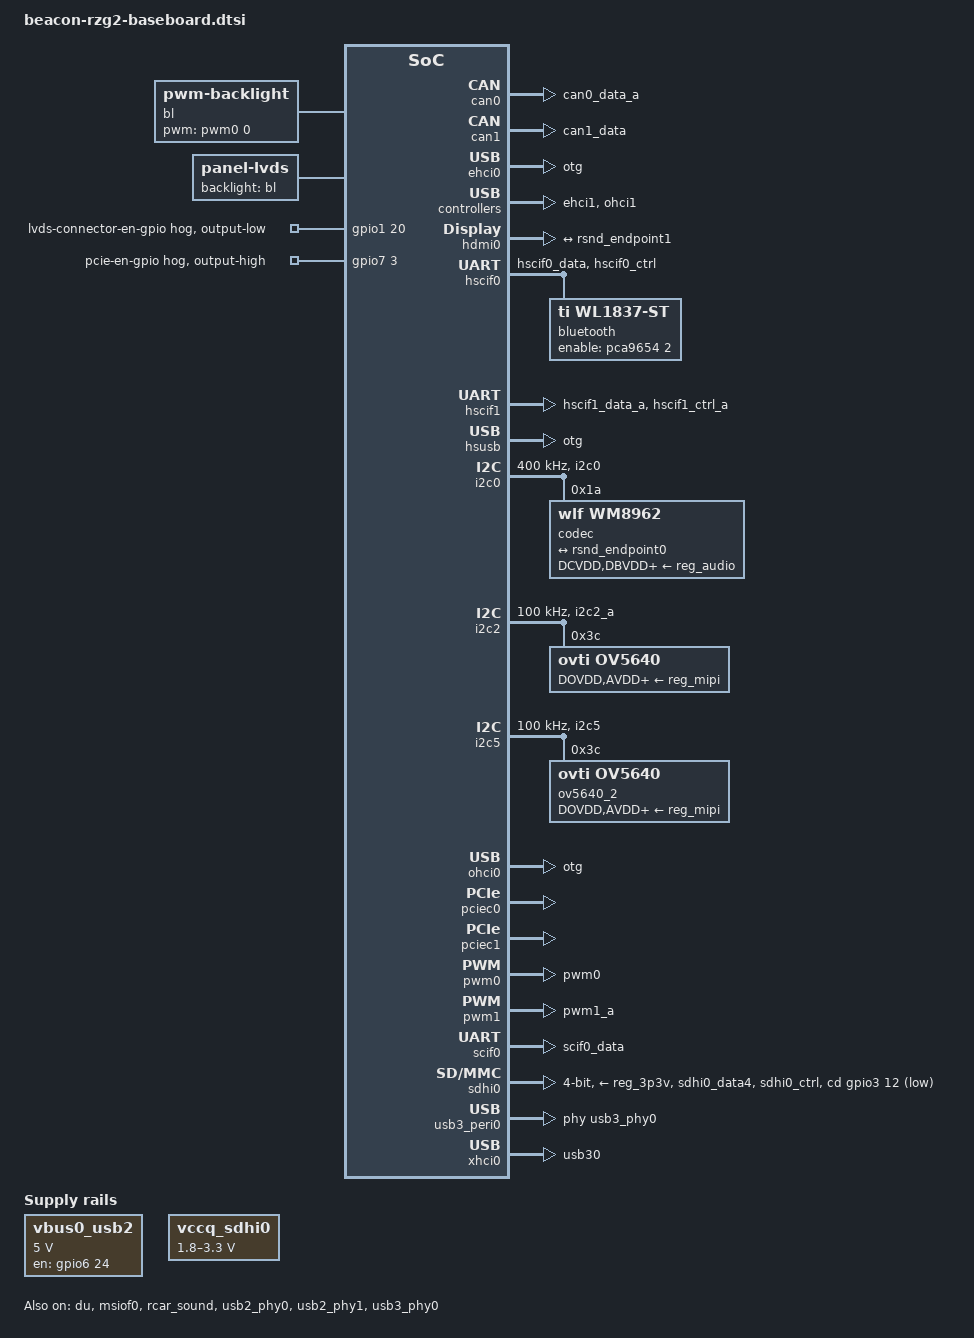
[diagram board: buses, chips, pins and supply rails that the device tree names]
// SPDX-License-Identifier: GPL-2.0
/*
 * Device Tree Source for Base Board of LogicPD RZ/G2 platform.
 *
 * Copyright (C) 2019 Logic PD.
 */

#include <dt-bindings/gpio/gpio.h>

/ {
	aliases {
		serial0 = &scif2;
		serial1 = &hscif0;
		serial2 = &hscif1;
		serial3 = &scif0;
		spi0 = &msiof0;
		spi1 = &msiof1;
		spi2 = &msiof2;
		spi3 = &msiof3;
		ethernet0 = &avb;
	};

	chosen {
		stdout-path = "serial0:115200n8";
	};

	bl: backlight {
		compatible = "pwm-backlight";
		pwms = <&pwm0 0 5000000>;

		brightness-levels = <0 4 8 16 32 64 128 255>;
		default-brightness-level = <6>;
	};

	lvds {
		compatible = "panel-lvds";

		width-mm = <223>;
		height-mm = <125>;

		data-mapping = "jeida-24";
		backlight = <&bl>;

		panel-timing {
			/* 1024x600@60Hz */
			clock-frequency = <51200000>;
			hactive = <1024>;
			vactive = <600>;
			hsync-len = <240>;
			hfront-porch = <40>;
			hback-porch = <40>;
			vfront-porch = <15>;
			vback-porch = <10>;
			vsync-len = <10>;
		};

		port {
			lvds_in: endpoint {
			};
		};
	};

	sound_card {
		compatible = "audio-graph-card";
		label = "rcar-sound";
		dais = <&rsnd_port0>, <&rsnd_port1>;
	};

	vbus0_usb2: regulator-vbus0-usb2 {
		compatible = "regulator-fixed";
		regulator-name = "USB20_VBUS0";
		regulator-min-microvolt = <5000000>;
		regulator-max-microvolt = <5000000>;

		gpio = <&gpio6 24 GPIO_ACTIVE_HIGH>;
		enable-active-high;
	};

	vccq_sdhi0: regulator-vccq-sdhi0 {
		compatible = "regulator-gpio";

		regulator-name = "SDHI0 VccQ";
		regulator-min-microvolt = <1800000>;
		regulator-max-microvolt = <3300000>;

		gpios = <&gpio6 30 GPIO_ACTIVE_HIGH>;
		gpios-states = <1>;
		states = <3300000 1
			  1800000 0>;
	};
};

&audio_clk_a {
	clock-frequency = <22579200>;
};

&audio_clk_b {
	clock-frequency = <24000000>;
};

&can0 {
	pinctrl-0 = <&can0_pins>;
	pinctrl-names = "default";
	renesas,can-clock-select = <0x0>;
	status = "okay";
};

&can1 {
	pinctrl-0 = <&can1_pins>;
	pinctrl-names = "default";
	renesas,can-clock-select = <0x0>;
	status = "okay";
};

&du {
	pinctrl-0 = <&du_pins>;
	pinctrl-names = "default";
	status = "okay";

	clocks = <&cpg CPG_MOD 724>,
		<&cpg CPG_MOD 723>,
		<&cpg CPG_MOD 722>,
		<&versaclock5 1>,
		<&x302_clk>,
		<&versaclock5 2>;
	clock-names = "du.0", "du.1", "du.2",
		"dclkin.0", "dclkin.1", "dclkin.2";
	ports {
		port@1 {
			du_out_hdmi0: endpoint {
                                remote-endpoint = <&dw_hdmi0_in>;
			};
		};
	};
};

&ehci0 {
	dr_mode = "otg";
	status = "okay";
};

&ehci1 {
	status = "okay";
};


/* GP1_20 is used to select (SEL) output direction for LVDS-IF
 * SEL = L => To LVDS Connector
 * SEL = H => To MIPI-DSI
 *
 * Currently just support LVDS Connector so that set LOW for GP1_20
 */
&gpio1 {
	lvds-connector-en-gpio{
		gpio-hog;
		gpios = <20 GPIO_ACTIVE_HIGH>;
		output-low;
		line-name = "lvds-connector-en-gpio";
	};
};

&gpio7 {
	pcie-en-gpio {
		gpio-hog;
		gpios = <3 GPIO_ACTIVE_HIGH>;
		output-high;
		line-name = "pcie-en-gpio";
	};
};

&hdmi0 {
	ports {
		port@2 {
			reg = <2>;
			dw_hdmi0_snd_in: endpoint {
				remote-endpoint = <&rsnd_endpoint1>;
			};
		};
	};
};

&hscif0 {
	pinctrl-0 = <&hscif0_pins>;
	pinctrl-names = "default";

	uart-has-rtscts;
	status = "okay";
	bluetooth {
		compatible = "ti,wl1837-st";
		enable-gpios = <&pca9654 2 GPIO_ACTIVE_HIGH>;
	};
};

&hscif1 {
	pinctrl-0 = <&hscif1_pins>;
	pinctrl-names = "default";

	uart-has-rtscts;
	status = "okay";
};

&hsusb {
	dr_mode = "otg";
	status = "okay";
};

&i2c0 {
	pinctrl-names = "default";
	pinctrl-0 = <&i2c0_pins>;
	status = "okay";
	clock-frequency = <400000>;

	codec: wm8962@1a {
		compatible = "wlf,wm8962";
		reg = <0x1a>;
		DCVDD-supply = <&reg_audio>;
		DBVDD-supply = <&reg_audio>;
		AVDD-supply = <&reg_audio>;
		CPVDD-supply = <&reg_audio>;
		MICVDD-supply = <&reg_audio>;
		PLLVDD-supply = <&reg_audio>;
		SPKVDD1-supply = <&reg_audio>;
		SPKVDD2-supply = <&reg_audio>;
		gpio-cfg = <
			0x0000 /* 0:Default */
			0x0000 /* 1:Default */
			0x0000 /* 2:Default */
			0x0000 /* 3:Default */
			0x0000 /* 4:Default */
			0x0000 /* 5:Default */
			>;
			port {
				wm8962_endpoint: endpoint {
					remote-endpoint = <&rsnd_endpoint0>;
				};
			};
	};
};

&i2c2 {
	pinctrl-0 = <&i2c2_pins>;
	pinctrl-names = "default";
	clock-frequency = <100000>;
	status = "okay";

	ov5640: camera@3C {
		compatible = "ovti,ov5640";
		reg = <0x3C>;
		clocks = <&audio_clk_b>;
		clock-names = "xclk";
		DOVDD-supply = <&reg_mipi>;
		AVDD-supply = <&reg_mipi>;
		DVDD-supply = <&reg_mipi>;
		status = "okay";

		port {
			ov5640_to_mipi_csi2: endpoint {
				clock-lanes = <0>;
				data-lanes = <1 2>;
			};
		};
	};
};

&i2c5 {
	pinctrl-0 = <&i2c5_pins>;
	pinctrl-names = "default";
	clock-frequency = <100000>;
	status = "okay";

	ov5640_2: camera@3C {
		compatible = "ovti,ov5640";
		reg = <0x3C>;
		clocks = <&audio_clk_b>;
		clock-names = "xclk";
		DOVDD-supply = <&reg_mipi>;
		AVDD-supply = <&reg_mipi>;
		DVDD-supply = <&reg_mipi>;
		status = "okay";

		port {
			ov5640_2_to_mipi_csi2: endpoint {
				clock-lanes = <0>;
				data-lanes = <1 2>;
			};
		};
	};
};

&msiof0 {
	pinctrl-0 = <&msiof0_pins>;
	pinctrl-names = "default";

	status = "okay";
};

&ohci0 {
	dr_mode = "otg";
	status = "okay";
};

&ohci1 {
	status = "okay";
};

&pciec0 {
	status = "okay";
};

&pciec1 {
	status = "okay";
};

&pcie_bus_clk {
	clock-frequency = <100000000>;
};

&pwm0 {
	pinctrl-0 = <&pwm0_pins>;
	pinctrl-names = "default";

	status = "okay";
};

&pwm1 {
	pinctrl-0 = <&pwm1_pins>;
	pinctrl-names = "default";

	status = "okay";
};

&rcar_sound {
	pinctrl-0 = <&sound_pins>, <&sound_clk_pins>;
	pinctrl-names = "default";

	/* Single DAI */
	#sound-dai-cells = <0>;

	/* audio_clkout0/1/2/3 */
	#clock-cells = <1>;
	clock-frequency = <11289600>;

	status = "okay";

	clocks = <&cpg CPG_MOD 1005>,
		 <&cpg CPG_MOD 1006>, <&cpg CPG_MOD 1007>,
		 <&cpg CPG_MOD 1008>, <&cpg CPG_MOD 1009>,
		 <&cpg CPG_MOD 1010>, <&cpg CPG_MOD 1011>,
		 <&cpg CPG_MOD 1012>, <&cpg CPG_MOD 1013>,
		 <&cpg CPG_MOD 1014>, <&cpg CPG_MOD 1015>,
		 <&cpg CPG_MOD 1022>, <&cpg CPG_MOD 1023>,
		 <&cpg CPG_MOD 1024>, <&cpg CPG_MOD 1025>,
		 <&cpg CPG_MOD 1026>, <&cpg CPG_MOD 1027>,
		 <&cpg CPG_MOD 1028>, <&cpg CPG_MOD 1029>,
		 <&cpg CPG_MOD 1030>, <&cpg CPG_MOD 1031>,
		 <&cpg CPG_MOD 1020>, <&cpg CPG_MOD 1021>,
		 <&cpg CPG_MOD 1020>, <&cpg CPG_MOD 1021>,
		 <&cpg CPG_MOD 1019>, <&cpg CPG_MOD 1018>,
		 <&audio_clk_a>, <&audio_clk_b>, <&audio_clk_c>,
		 <&cpg CPG_CORE R8A774A1_CLK_S0D4>;
	ports {
        #address-cells = <1>;
        #size-cells = <0>;
		rsnd_port0: port@0 {
			reg = <0>;
			rsnd_endpoint0: endpoint {
				remote-endpoint = <&wm8962_endpoint>;

				dai-format = "i2s";
				bitclock-master = <&rsnd_endpoint0>;
				frame-master = <&rsnd_endpoint0>;

				playback = <&ssi1>;
			};
		};
		rsnd_port1: port@1 {
		    reg = <0x01>;
			rsnd_endpoint1: endpoint {
				remote-endpoint = <&dw_hdmi0_snd_in>;

				dai-format = "i2s";
				bitclock-master = <&rsnd_endpoint1>;
				frame-master = <&rsnd_endpoint1>;

				playback = <&ssi2>;
			};
		};
	};
};

&scif0 {
	pinctrl-0 = <&scif0_pins>;
	pinctrl-names = "default";

	status = "okay";
};

&scif_clk {
	clock-frequency = <14745600>;
};

&sdhi0 {
	pinctrl-0 = <&sdhi0_pins>;
	pinctrl-1 = <&sdhi0_pins_uhs>;
	pinctrl-names = "default", "state_uhs";

	vmmc-supply = <&reg_3p3v>;
	vqmmc-supply = <&vccq_sdhi0>;
	cd-gpios = <&gpio3 12 GPIO_ACTIVE_LOW>;
	bus-width = <4>;
	sd-uhs-sdr50;
	sd-uhs-sdr104;
	status = "okay";
};

&ssi1 {
	shared-pin;
};

&usb2_phy0 {
	pinctrl-0 = <&usb0_pins>;
	pinctrl-names = "default";

	vbus-supply = <&vbus0_usb2>;
	status = "okay";
};

&usb2_phy1 {
	pinctrl-0 = <&usb1_pins>;
	pinctrl-names = "default";

	status = "okay";
};

&usb3_peri0 {
	phys = <&usb3_phy0>;
	phy-names = "usb";

	status = "okay";
};

&usb3_phy0 {
	status = "okay";
};

&xhci0
{
	pinctrl-0 = <&usb30_pins>;
	pinctrl-names = "default";

	status = "okay";
};

&pfc {
	can0_pins: can0 {
		groups = "can0_data_a";
		function = "can0";
	};

	can1_pins: can1 {
		groups = "can1_data";
		function = "can1";
	};

	du_pins: du {
		groups = "du_rgb888", "du_sync", "du_oddf", "du_clk_out_0";
		function = "du";
	};

	i2c0_pins: i2c0 {
		groups = "i2c0";
		function = "i2c0";
	};

	hscif0_pins: hscif0 {
		groups = "hscif0_data", "hscif0_ctrl";
		function = "hscif0";
	};

	hscif1_pins: hscif1 {
		groups = "hscif1_data_a", "hscif1_ctrl_a";
		function = "hscif1";
	};

	i2c2_pins: i2c2 {
		groups = "i2c2_a";
		function = "i2c2";
	};

	i2c5_pins: i2c5 {
		groups = "i2c5";
		function = "i2c5";
	};

	msiof0_pins: spi0 {
		groups = "msiof0_clk", "msiof0_sync",
			 "msiof0_rxd", "msiof0_txd";
		function = "msiof0";
	};

	pwm0_pins: pwm0 {
		groups = "pwm0";
		function = "pwm0";
	};

	pwm1_pins: pwm1 {
		groups = "pwm1_a";
		function = "pwm1";
	};

	scif0_pins: scif0 {
		groups = "scif0_data";
		function = "scif0";
	};

	scif2_pins: scif2 {
		groups = "scif2_data_a";
		function = "scif2";
	};

	sdhi0_pins: sd0 {
		groups = "sdhi0_data4", "sdhi0_ctrl";
		function = "sdhi0";
		power-source = <3300>;
	};

	sdhi0_pins_uhs: sd0_uhs {
		groups = "sdhi0_data4", "sdhi0_ctrl";
		function = "sdhi0";
		power-source = <1800>;
	};

	sound_pins: sound {
		groups = "ssi01239_ctrl", "ssi0_data", "ssi1_data_a";
		function = "ssi";
	};

	sound_clk_pins: sound_clk {
		groups = "audio_clk_a_a";
		function = "audio_clk";
	};

	usb0_pins: usb0 {
		groups = "usb0";
		function = "usb0";
	};

	usb1_pins: usb1 {
		mux {
			groups = "usb1";
			function = "usb1";
		};

		ovc {
			pins = "GP_6_27";
			bias-pull-up;
		};

		pwen {
			pins = "GP_6_26";
		};
	};

	usb30_pins: usb30 {
		groups = "usb30";
		function = "usb30";
	};
};
